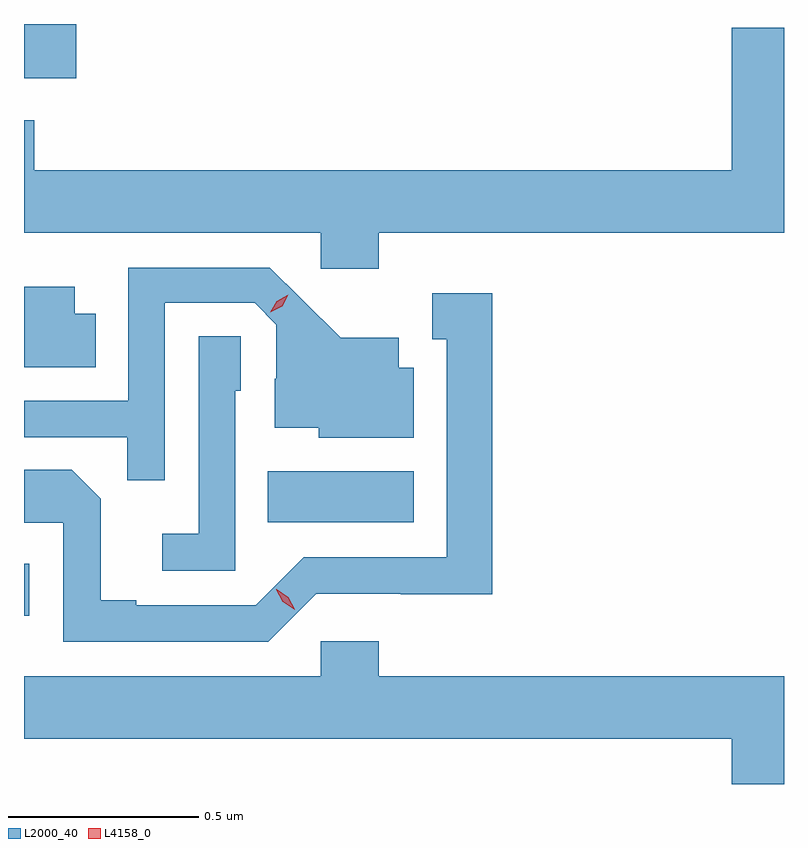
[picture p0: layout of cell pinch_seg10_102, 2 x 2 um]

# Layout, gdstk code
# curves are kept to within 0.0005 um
import gdstk
lib = gdstk.Library(unit=1e-6, precision=1e-09)
def R(c, l, rs):  # rectangles x0, y0, x1, y1
    for r in rs: c.add(gdstk.rectangle(r[:2], r[2:], *l))
def P(c, l, *ps):  # polygons
    for p in ps: c.add(gdstk.Polygon(p, *l))
L2000_40 = (2000, 40)
L4158_0 = (4158, 0)

pinch_seg10_102 = lib.new_cell('pinch_seg10_102')
R(pinch_seg10_102, L2000_40, [(714.593,1291.316,714.607,1291.452), (715.234,1291.562,715.618,1291.696), (714.593,1292.73,714.731,1292.873)])
P(pinch_seg10_102, L2000_40, [(715.526,1292.324),(716.593,1292.324),(716.593,1292.863),(716.456,1292.863),(716.456,1292.488),(714.62,1292.488),(714.62,1292.62),(714.593,1292.62),(714.593,1292.324),(715.374,1292.324),(715.374,1292.229),(715.526,1292.229)],
  [(714.963,1292.139),(715.2,1292.139),(715.257,1292.082),(715.257,1291.94),(715.253,1291.94),(715.253,1291.811),(715.368,1291.811),(715.368,1291.784),(715.618,1291.784),(715.618,1291.969),(715.579,1291.969),(715.579,1292.047),(715.427,1292.047),(715.24,1292.232),(714.867,1292.232),(714.867,1291.881),(714.593,1291.881),(714.593,1291.785),(714.865,1291.785),(714.865,1291.672),(714.963,1291.672)],
  [(714.782,1292.11),(714.727,1292.11),(714.727,1292.182),(714.593,1292.182),(714.593,1291.97),(714.782,1291.97)],
  [(715.362,1291.374),(715.584,1291.374),(715.584,1291.373),(715.825,1291.373),(715.825,1292.164),(715.667,1292.164),(715.667,1292.043),(715.706,1292.043),(715.706,1291.47),(715.329,1291.47),(715.203,1291.344),(714.889,1291.344),(714.889,1291.357),(714.795,1291.357),(714.795,1291.624),(714.719,1291.7),(714.593,1291.7),(714.593,1291.56),(714.696,1291.56),(714.696,1291.248),(715.236,1291.248)],
  [(715.149,1291.908),(715.164,1291.908),(715.164,1292.051),(715.053,1292.051),(715.053,1291.531),(714.957,1291.531),(714.957,1291.434),(715.149,1291.434)],
  [(716.593,1291.156),(715.526,1291.156),(715.526,1291.249),(715.374,1291.249),(715.374,1291.156),(714.593,1291.156),(714.593,1290.992),(716.456,1290.992),(716.456,1290.873),(716.593,1290.873)])
P(pinch_seg10_102, L4158_0, [(715.305,1291.332),(715.274,1291.352),(715.257,1291.384),(715.257,1291.385),(715.258,1291.385),(715.289,1291.365),(715.306,1291.333),(715.306,1291.332)],
  [(715.241,1292.114),(715.241,1292.115),(715.258,1292.144),(715.289,1292.16),(715.289,1292.16),(715.289,1292.16),(715.272,1292.13),(715.241,1292.114)])

lib.write_gds('pinch_seg10_102.gds')
